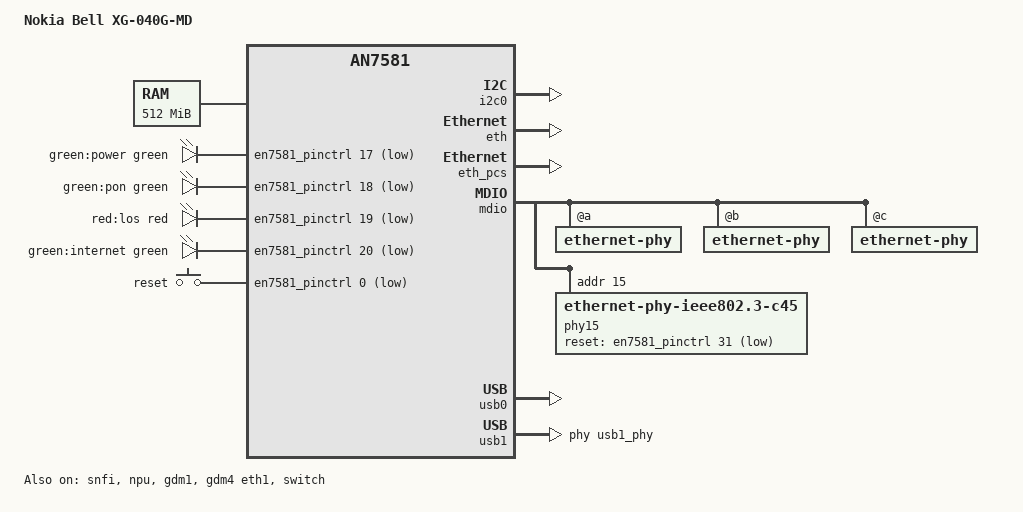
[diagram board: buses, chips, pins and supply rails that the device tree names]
// SPDX-License-Identifier: (GPL-2.0-only OR BSD-2-Clause)
/dts-v1/;

#include <dt-bindings/leds/common.h>
#include <dt-bindings/gpio/gpio.h>
#include <dt-bindings/input/input.h>
#include "an7581.dtsi"

/ {
	/* 设备型号和兼容字符串，用于内核匹配驱动 */
	model = "Nokia Bell XG-040G-MD";
	compatible = "bell,xg-040g-md", "airoha,an7581";

	aliases {
		/* 标签 MAC 地址从 GDM1 网络接口读取 */
		label-mac-device = &gdm1;

		/* LED 别名，用于引导、恢复、运行、升级等状态指示 */
		led-boot = &pwr_led;
		led-failsafe = &pwr_led;
		led-running = &pwr_led;
		led-upgrade = &pwr_led;

		/* 串口0 映射到 UART1 */
		serial0 = &uart1;
	};

	chosen {
		/* 内核启动参数：指定 UBI 分区、根文件系统、控制台等 */
		bootargs = "ubi.mtd=ubi root=ubi0:rootfs rootfstype=squashfs ro rootwait console=ttyS0,115200 earlycon";
		/* 标准输出路径，对应 serial0 */
		stdout-path = "serial0:115200n8";
		/* 限制内核可用的内存范围（从 0x80200000 起 0x1fe00000 大小） */
		linux,usable-memory-range = <0x0 0x80200000 0x0 0x1fe00000>;
	};

	/* 系统物理内存：起始地址 0x80000000，大小 512MiB (0x20000000) */
	memory@80000000 {
		device_type = "memory";
		reg = <0x0 0x80000000 0x0 0x20000000>;
	};

	/* efuse 控制器，用于读取芯片出厂信息（如 MAC 地址等） */
	efuse-banks {
		compatible = "airoha,an7581-efuses";
		#address-cells = <1>;
		#size-cells = <0>;

		bank@0 {
			reg = <0>;
		};

		bank@1 {
			reg = <1>;
		};
	};

	/* GPIO LED 定义 */
	leds {
		compatible = "gpio-leds";

		pwr_led: led-0 {
			label = "green:power";
			color = <LED_COLOR_ID_GREEN>;
			function = LED_FUNCTION_POWER;
			gpios = <&en7581_pinctrl 17 GPIO_ACTIVE_LOW>;
			linux,default-trigger = "default-on";	/* 开机常亮 */
		};

		pon_led: led-1 {
			label = "green:pon";
			color = <LED_COLOR_ID_GREEN>;
			function = LED_FUNCTION_STATUS;
			gpios = <&en7581_pinctrl 18 GPIO_ACTIVE_LOW>;
		};

		los_led: led-2 {
			label = "red:los";
			color = <LED_COLOR_ID_RED>;
			function = LED_FUNCTION_STATUS;
			gpios = <&en7581_pinctrl 19 GPIO_ACTIVE_LOW>;
		};

		internet_led: led-3 {
			label = "green:internet";
			color = <LED_COLOR_ID_GREEN>;
			function = LED_FUNCTION_STATUS;
			gpios = <&en7581_pinctrl 20 GPIO_ACTIVE_LOW>;
		};
	};

	/* GPIO 按键定义（复位键） */
	keys {
		compatible = "gpio-keys";

		reset {
			label = "reset";
			gpios = <&en7581_pinctrl 0 GPIO_ACTIVE_LOW>;
			linux,code = <KEY_RESTART>;
			debounce-interval = <60>;	/* 去抖动 60ms */
		};
	};
};

/*
 * 引脚控制器扩展配置
 * 定义各功能引脚复用及 LED 引脚
 */
&en7581_pinctrl {
	/* GPIO 范围：从 0 开始共 47 个引脚，偏移 13 */
	gpio-ranges = <&en7581_pinctrl 0 13 47>;

	/* MDIO 引脚复用配置 */
	mdio_pins: mdio-pins {
		mux {
			function = "mdio";
			groups = "mdio";
		};

		conf {
			pins = "gpio2";
			output-high;	/* 初始输出高电平 */
		};
	};

	/* 交换机端口2 LED0 引脚 (GPIO34) 复用为 PHY2_LED0 */
	gswp2_led0_pins: gswp2-led0-pins {
		mux {
			pins = "gpio34";
			function = "phy2_led0";
		};
	};

	/* 交换机端口3 LED0 引脚 (GPIO35) 复用为 PHY3_LED0 */
	gswp3_led0_pins: gswp3-led0-pins {
		mux {
			pins = "gpio35";
			function = "phy3_led0";
		};
	};

	/* 交换机端口4 LED0 引脚 (GPIO42) 复用为 PHY4_LED0 */
	gswp4_led0_pins: gswp4-led0-pins {
		mux {
			pins = "gpio42";
			function = "phy4_led0";
		};
	};
};

/* SPI NAND Flash 控制器 */
&snfi {
	status = "okay";
};

/* SPI NAND 分区布局 */
&spi_nand {
	partitions {
		compatible = "fixed-partitions";
		#address-cells = <1>;
		#size-cells = <1>;

		/* Bootloader 分区，起始 0，大小 512KB */
		bootloader: partition@0 {
			label = "bootloader";
			reg = <0x00000000 0x00080000>;
		};

		/* 环境变量分区，大小 512KB */
		env: partition@80000 {
			label = "env";
			reg = <0x00080000 0x00080000>;
		};

		/* factory 读取mac地址 */
		factory: partition@5200000 {
			label = "ri";
			reg = <0x5200000 0x40000>;
			read-only;
		};

		/* UBI 分区，存放根文件系统和用户数据，从 1MB 开始到末尾 */
		ubi: partition@100000 {
			label = "ubi";
			reg = <0x05240000 0x0ADC0000>;
		};
	};
};

/* ========== 定义 NVMEM 布局 ========== */
&factory {
	nvmem-layout {
		compatible = "fixed-layout";
		#address-cells = <1>;
		#size-cells = <1>;

		macaddr_factory_3e: macaddr@3e {
			compatible = "mac-base";
			reg = <0x3e 0x6>;          /* MAC 位于偏移 0x3e，6 字节 */
			#nvmem-cell-cells = <1>;   /* 支持索引偏移 */
		};
	};
};

/* I2C0 控制器启用 */
&i2c0 {
	status = "okay";
};

/* 以太网 MAC 控制器启用 */
&eth {
	status = "okay";
};

/* 以太网 PCS 子模块启用 */
&eth_pcs {
	status = "okay";
};

/* NPU */
&npu {
	status = "okay";
};

/* ========== 引用 NVMEM 单元获取 MAC ========== */
&gdm1 {
	status = "okay";
	nvmem-cell-names = "mac-address";
	nvmem-cells = <&macaddr_factory_3e 0>;   /* 基址 MAC */
};

&gdm4 {
	status = "okay";
	phy-handle = <&phy15>;
	phy-mode = "2500base-x";
	label = "eth1";
	nvmem-cell-names = "mac-address";
	nvmem-cells = <&macaddr_factory_3e 1>;   /* 基址 + 1，避免与 eth0 冲突 */
};

/*
 * 内置交换机的配置
 * 使用 MDIO 引脚，并定义 LAN 端口及外部 PHY
 */
&switch {
	status = "okay";
	pinctrl-names = "default";
	pinctrl-0 = <&mdio_pins>;

	ports {
		/* 端口2、3、4 作为 LAN 口（对应标签 lan2, lan3, lan4） */
		port@2 {
			status = "okay";
			label = "lan2";
		};

		port@3 {
			status = "okay";
			label = "lan3";
		};

		port@4 {
			status = "okay";
			label = "lan4";
		};
	};

	/* MDIO 总线上的 PHY 设备 */
	mdio {
		/* PHY 地址 0xa (10) 对应端口2，LED 引脚使用 gswp2_led0_pins */
		ethernet-phy@a {
			status = "okay";
			pinctrl-names = "gbe-led";
			pinctrl-0 = <&gswp2_led0_pins>;

			leds {
				led@0 {
					status = "okay";
					active-low;
					function = LED_FUNCTION_LAN;
					color = <LED_COLOR_ID_GREEN>;
				};
			};
		};

		/* PHY 地址 0xb (11) 对应端口3 */
		ethernet-phy@b {
			status = "okay";
			pinctrl-names = "gbe-led";
			pinctrl-0 = <&gswp3_led0_pins>;

			leds {
				led@0 {
					status = "okay";
					active-low;
					function = LED_FUNCTION_LAN;
					color = <LED_COLOR_ID_GREEN>;
				};
			};
		};

		/* PHY 地址 0xc (12) 对应端口4 */
		ethernet-phy@c {
			status = "okay";
			pinctrl-names = "gbe-led";
			pinctrl-0 = <&gswp4_led0_pins>;

			leds {
				led@0 {
					status = "okay";
					active-low;
					function = LED_FUNCTION_LAN;
					color = <LED_COLOR_ID_GREEN>;
				};
			};
		};

		/* 外部 PHY 地址 0xf (15)，支持 IEEE 802.3 C45 标准，用于 2.5G 接口 */
		phy15: ethernet-phy@f {
			compatible = "ethernet-phy-ieee802.3-c45";
			reg = <15>;

			/* 复位引脚 GPIO31，低电平有效，复位时序 10ms 保持低，20ms 恢复 */
			reset-gpios = <&en7581_pinctrl 31 GPIO_ACTIVE_LOW>;
			reset-assert-us = <10000>;
			reset-deassert-us = <20000>;

			leds {
				#address-cells = <1>;
				#size-cells = <0>;

				led@0 {
					reg = <0>;
					function = LED_FUNCTION_LAN;
					color = <LED_COLOR_ID_GREEN>;
				};
			};
		};
	};
};

/* USB0 控制器启用 */
&usb0 {
	status = "okay";
};

/* USB1 控制器启用，配置为 USB2 模式，并屏蔽 USB3 功能（mediatek,u3p-dis-msk） */
&usb1 {
	status = "okay";
	phys = <&usb1_phy PHY_TYPE_USB2>;
	mediatek,u3p-dis-msk = <0x1>;
};

/* 音频前端 (AFE) 禁用，本设备不使用音频功能 */
&afe {
	status = "disabled";
};
